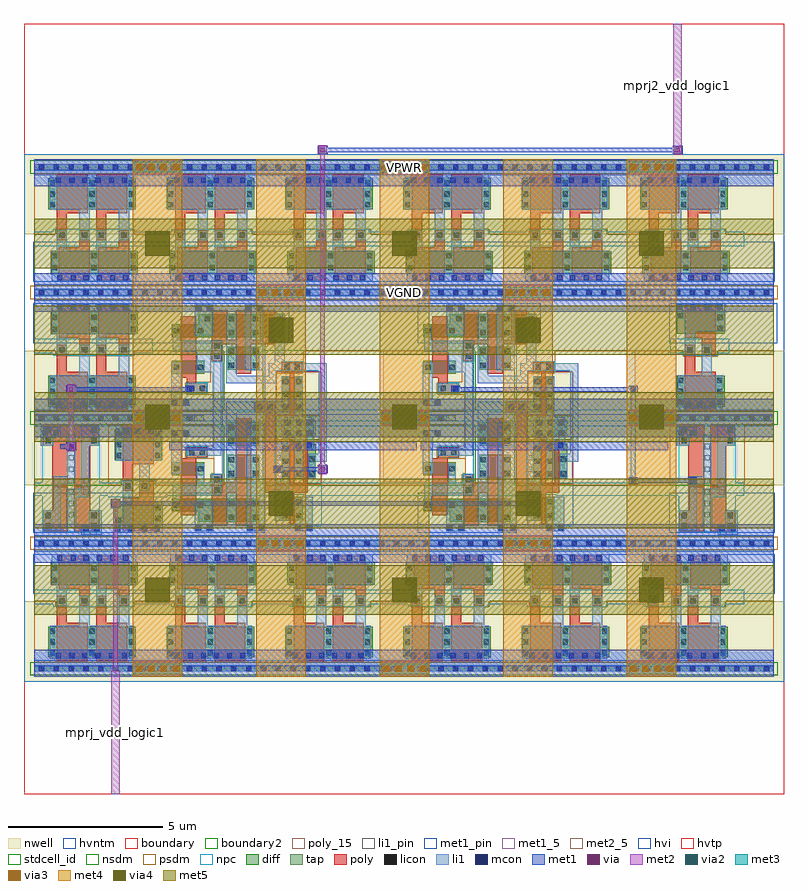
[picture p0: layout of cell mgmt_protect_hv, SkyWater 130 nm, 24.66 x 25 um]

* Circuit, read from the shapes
.subckt mgmt_protect_hv VGND VPWR mprj2_vdd_logic1 mprj_vdd_logic1
XM1 VGND VPWR VGND VGND sky130_fd_pr__nfet_g5v0d10v5 w=0.75 l=1 m=28
XM2 VGND n1 n2 VGND sky130_fd_pr__nfet_g5v0d10v5 w=0.42 l=0.5
XM3 VGND VPWR n1 VGND sky130_fd_pr__nfet_g5v0d10v5 w=0.42 l=0.5
XM4 n3 n2 VGND VGND sky130_fd_pr__nfet_g5v0d10v5 w=0.75 l=0.5 m=4
XM5 n4 n1 VGND VGND sky130_fd_pr__nfet_g5v0d10v5 w=0.75 l=0.5 m=4
XM6 VGND n3 mprj2_vdd_logic1 VGND sky130_fd_pr__nfet_01v8 w=0.74 l=0.15
XM7 VGND n5 n6 VGND sky130_fd_pr__nfet_g5v0d10v5 w=0.42 l=0.5
XM8 VGND VPWR n5 VGND sky130_fd_pr__nfet_g5v0d10v5 w=0.42 l=0.5
XM9 n7 n6 VGND VGND sky130_fd_pr__nfet_g5v0d10v5 w=0.75 l=0.5 m=4
XM10 n8 n5 VGND VGND sky130_fd_pr__nfet_g5v0d10v5 w=0.75 l=0.5 m=4
XM11 VGND n7 mprj_vdd_logic1 VGND sky130_fd_pr__nfet_01v8 w=0.74 l=0.15
XM12 VPWR VGND VPWR VPWR sky130_fd_pr__pfet_g5v0d10v5 w=1 l=1 m=28
XM13 n2 n1 VPWR VPWR sky130_fd_pr__pfet_g5v0d10v5 w=0.42 l=0.5
XM14 n1 VPWR VPWR VPWR sky130_fd_pr__pfet_g5v0d10v5 w=0.42 l=0.5
XM15 sky130_fd_sc_hvl__lsbufhv2lv_1_6/LVPWR n3 mprj2_vdd_logic1 sky130_fd_sc_hvl__lsbufhv2lv_1_6/LVPWR sky130_fd_pr__pfet_01v8_hvt w=1.12 l=0.15
XM16 sky130_fd_sc_hvl__lsbufhv2lv_1_6/LVPWR n4 n3 sky130_fd_sc_hvl__lsbufhv2lv_1_6/LVPWR sky130_fd_pr__pfet_01v8_hvt w=1.12 l=0.15
XM17 n4 n3 sky130_fd_sc_hvl__lsbufhv2lv_1_6/LVPWR sky130_fd_sc_hvl__lsbufhv2lv_1_6/LVPWR sky130_fd_pr__pfet_01v8_hvt w=1.12 l=0.15
XM18 n6 n5 VPWR VPWR sky130_fd_pr__pfet_g5v0d10v5 w=0.42 l=0.5
XM19 n5 VPWR VPWR VPWR sky130_fd_pr__pfet_g5v0d10v5 w=0.42 l=0.5
XM20 sky130_fd_sc_hvl__lsbufhv2lv_1_10/LVPWR n7 mprj_vdd_logic1 sky130_fd_sc_hvl__lsbufhv2lv_1_10/LVPWR sky130_fd_pr__pfet_01v8_hvt w=1.12 l=0.15
XM21 sky130_fd_sc_hvl__lsbufhv2lv_1_10/LVPWR n8 n7 sky130_fd_sc_hvl__lsbufhv2lv_1_10/LVPWR sky130_fd_pr__pfet_01v8_hvt w=1.12 l=0.15
XM22 n8 n7 sky130_fd_sc_hvl__lsbufhv2lv_1_10/LVPWR sky130_fd_sc_hvl__lsbufhv2lv_1_10/LVPWR sky130_fd_pr__pfet_01v8_hvt w=1.12 l=0.15
.ends

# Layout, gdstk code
import gdstk
lib = gdstk.Library(unit=1e-6, precision=1e-09)
def R(c, l, rs):  # rectangles x0, y0, x1, y1
    for r in rs: c.add(gdstk.rectangle(r[:2], r[2:], *l))
def A(c, l, x, y, w, h, nx, ny, dx, dy):  # array of equal rectangles
    R(c, l, [(x+i*dx, y+j*dy, x+i*dx+w, y+j*dy+h) for i in range(nx) for j in range(ny)])
def P(c, l, *ps):  # polygons
    for p in ps: c.add(gdstk.Polygon(p, *l))
nwell = (64, 20)
diff = (65, 20)
tap = (65, 44)
poly_15 = (66, 15)
poly = (66, 20)
licon = (66, 44)
li1_pin = (67, 16)
li1 = (67, 20)
mcon = (67, 44)
met1_5 = (68, 5)
met1_pin = (68, 16)
met1 = (68, 20)
via = (68, 44)
met2_5 = (69, 5)
met2 = (69, 20)
via2 = (69, 44)
met3 = (70, 20)
via3 = (70, 44)
met4 = (71, 20)
via4 = (71, 44)
met5 = (72, 20)
hvi = (75, 20)
hvtp = (78, 44)
stdcell_id = (81, 4)
nsdm = (93, 44)
psdm = (94, 20)
npc = (95, 20)
hvntm = (125, 20)
boundary = (235, 4)
boundary2 = (236, 0)

sky130_fd_sc_hvl__fill_1 = lib.new_cell('sky130_fd_sc_hvl__fill_1')
R(sky130_fd_sc_hvl__fill_1, nwell, [(-0.33,1.885,0.81,4.485)])
R(sky130_fd_sc_hvl__fill_1, tap, [(0,-0.085,0.48,0.085), (0,3.985,0.48,4.155)])
R(sky130_fd_sc_hvl__fill_1, licon, [(0.155,-0.085,0.325,0.085), (0.155,3.985,0.325,4.155)])
R(sky130_fd_sc_hvl__fill_1, li1, [(0,-0.085,0.48,0.085), (0,3.985,0.48,4.155)])
R(sky130_fd_sc_hvl__fill_1, mcon, [(0.155,-0.085,0.325,0.085), (0.155,-0.085,0.325,0.085), (0.155,3.985,0.325,4.155), (0.155,3.985,0.325,4.155)])
R(sky130_fd_sc_hvl__fill_1, met1_pin, [(0,0,0.48,0.115), (0,0,0.48,0.115), (0,0.255,0.48,0.625), (0,3.445,0.48,3.815), (0,3.955,0.48,4.07), (0,3.955,0.48,4.07)])
R(sky130_fd_sc_hvl__fill_1, met1, [(0,-0.115,0.48,0.115), (0,0.255,0.48,0.625), (0,3.445,0.48,3.815), (0,3.955,0.48,4.185)])
R(sky130_fd_sc_hvl__fill_1, hvi, [(-0.33,-0.265,0.81,4.485)])
R(sky130_fd_sc_hvl__fill_1, stdcell_id, [(0,0,0.48,4.07)])
R(sky130_fd_sc_hvl__fill_1, nsdm, [(0,0.215,0.48,1.885), (-0.13,3.855,0.61,4.285), (0,3.855,0.48,4.07)])
R(sky130_fd_sc_hvl__fill_1, psdm, [(-0.13,-0.215,0.61,0.215), (0,1.885,0.48,3.855)])
R(sky130_fd_sc_hvl__fill_1, hvntm, [(-0.11,0.35,0.59,1.64)])
R(sky130_fd_sc_hvl__fill_1, boundary2, [(0,0,0.48,4.07)])
sky130_fd_sc_hvl__fill_1.add(gdstk.Label('fill_1', (0,0), layer=83, texttype=44))
sky130_fd_sc_hvl__fill_1.add(gdstk.Label('VNB', (0.24,0.058), layer=68, texttype=5))
sky130_fd_sc_hvl__fill_1.add(gdstk.Label('VNB', (0.24,0.058), layer=68, texttype=5))
sky130_fd_sc_hvl__fill_1.add(gdstk.Label('VPWR', (0.24,3.63), layer=68, texttype=5))
sky130_fd_sc_hvl__fill_1.add(gdstk.Label('VPB', (0.24,4.013), layer=68, texttype=5))
sky130_fd_sc_hvl__fill_1.add(gdstk.Label('VPB', (0.24,4.013), layer=68, texttype=5))
sky130_fd_sc_hvl__fill_1.add(gdstk.Label('VGND', (0.24,0.44), layer=68, texttype=5))

sky130_fd_sc_hvl__decap_ = lib.new_cell('sky130_fd_sc_hvl__decap_8')
R(sky130_fd_sc_hvl__decap_, nwell, [(-0.33,1.885,4.17,4.485)])
R(sky130_fd_sc_hvl__decap_, diff, [(0.535,0.59,3.365,1.34), (0.46,2.7,3.3,3.7)])
R(sky130_fd_sc_hvl__decap_, tap, [(0,-0.085,3.84,0.085), (0,3.985,3.84,4.155)])
P(sky130_fd_sc_hvl__decap_, poly, [(3.08,2.025),(2.75,2.025),(2.75,1.47),(2.08,1.47),(2.08,0.4),(3.08,0.4)],
  [(3.015,3.83),(2.015,3.83),(2.015,1.695),(2.345,1.695),(2.345,2.57),(3.015,2.57)],
  [(1.735,3.83),(0.735,3.83),(0.735,1.695),(1.065,1.695),(1.065,2.57),(1.735,2.57)],
  [(1.8,2.025),(1.47,2.025),(1.47,1.47),(0.8,1.47),(0.8,0.4),(1.8,0.4)])
A(sky130_fd_sc_hvl__decap_, licon, 0.155, -0.085, 0.17, 0.17, 8, 2, 0.48, 4.07)
A(sky130_fd_sc_hvl__decap_, licon, 0.575, 0.72, 0.17, 0.17, 3, 2, 1.28, 0.39)
A(sky130_fd_sc_hvl__decap_, licon, 0.5, 2.76, 0.17, 0.17, 1, 3, 0, 0.355)
A(sky130_fd_sc_hvl__decap_, licon, 1.79, 2.76, 0.17, 0.17, 1, 3, 0, 0.355)
A(sky130_fd_sc_hvl__decap_, licon, 3.07, 2.76, 0.17, 0.17, 1, 3, 0, 0.355)
R(sky130_fd_sc_hvl__decap_, licon, [(0.815,1.775,0.985,1.945), (1.55,1.775,1.72,1.945), (2.095,1.775,2.265,1.945), (2.83,1.775,3,1.945)])
R(sky130_fd_sc_hvl__decap_, li1, [(0,-0.085,3.84,0.085), (0,3.985,3.84,4.155)])
P(sky130_fd_sc_hvl__decap_, li1, [(3.24,3.75),(0.5,3.75),(0.5,2.68),(1.47,2.68),(1.47,1.695),(1.8,1.695),(1.8,2.68),(2.75,2.68),(2.75,1.695),(3.08,1.695),(3.08,2.68),(3.24,2.68)],
  [(3.305,1.36),(2.345,1.36),(2.345,2.025),(2.015,2.025),(2.015,1.36),(1.065,1.36),(1.065,2.025),(0.735,2.025),(0.735,1.36),(0.575,1.36),(0.575,0.36),(3.305,0.36)])
A(sky130_fd_sc_hvl__decap_, mcon, 0.155, -0.085, 0.17, 0.17, 8, 2, 0.48, 4.07)
R(sky130_fd_sc_hvl__decap_, mcon, [(0.745,0.39,0.915,0.56), (1.185,0.39,1.355,0.56), (1.6,0.39,1.77,0.56), (2.025,0.39,2.195,0.56), (2.465,0.39,2.635,0.56), (2.88,0.39,3.05,0.56), (0.705,3.555,0.875,3.725), (1.145,3.555,1.315,3.725), (1.56,3.555,1.73,3.725), (1.985,3.555,2.155,3.725), (2.425,3.555,2.595,3.725), (2.84,3.555,3.01,3.725)])
R(sky130_fd_sc_hvl__decap_, met1_pin, [(0,0,3.84,0.115), (0,0,3.84,0.115), (0,0.255,3.84,0.625), (0,3.445,3.84,3.815), (0,3.955,3.84,4.07), (0,3.955,3.84,4.07)])
R(sky130_fd_sc_hvl__decap_, met1, [(0,-0.115,3.84,0.115), (0,0.255,3.84,0.625), (0,3.445,3.84,3.815), (0,3.955,3.84,4.185)])
R(sky130_fd_sc_hvl__decap_, hvi, [(-0.33,-0.265,4.17,4.485)])
R(sky130_fd_sc_hvl__decap_, stdcell_id, [(0,0,3.84,4.07)])
R(sky130_fd_sc_hvl__decap_, nsdm, [(-0.13,3.855,3.97,4.285)])
P(sky130_fd_sc_hvl__decap_, nsdm, [(3.84,1.885),(3.24,1.885),(3.24,2.055),(0.705,2.055),(0.705,1.885),(0,1.885),(0,0.215),(3.84,0.215)])
R(sky130_fd_sc_hvl__decap_, psdm, [(-0.13,-0.215,3.97,0.215)])
P(sky130_fd_sc_hvl__decap_, psdm, [(3.84,3.855),(0,3.855),(0,1.885),(0.705,1.885),(0.705,2.055),(3.24,2.055),(3.24,1.885),(3.84,1.885)])
P(sky130_fd_sc_hvl__decap_, npc, [(3.84,1.97),(3.2,1.97),(3.2,2.05),(0.615,2.05),(0.615,1.97),(0,1.97),(0,1.5),(3.84,1.5)])
R(sky130_fd_sc_hvl__decap_, hvntm, [(-0.035,0.35,3.875,1.64)])
R(sky130_fd_sc_hvl__decap_, boundary2, [(0,0,3.84,4.07)])
sky130_fd_sc_hvl__decap_.add(gdstk.Label('decap_8', (0,0), layer=83, texttype=44))
sky130_fd_sc_hvl__decap_.add(gdstk.Label('VNB', (1.92,0.058), layer=68, texttype=5))
sky130_fd_sc_hvl__decap_.add(gdstk.Label('VGND', (1.92,0.44), layer=68, texttype=5))
sky130_fd_sc_hvl__decap_.add(gdstk.Label('VNB', (1.92,0.058), layer=68, texttype=5))
sky130_fd_sc_hvl__decap_.add(gdstk.Label('VPWR', (1.92,3.63), layer=68, texttype=5))
sky130_fd_sc_hvl__decap_.add(gdstk.Label('VPB', (1.92,4.013), layer=68, texttype=5))
sky130_fd_sc_hvl__decap_.add(gdstk.Label('VPB', (1.92,4.013), layer=68, texttype=5))

c_sky130_fd_sc_hvl__decap_ = lib.new_cell('sky130_fd_sc_hvl__decap_4')
R(c_sky130_fd_sc_hvl__decap_, nwell, [(-0.33,1.885,2.25,4.485)])
R(c_sky130_fd_sc_hvl__decap_, diff, [(0.21,0.595,1.76,1.345), (0.21,2.705,1.76,3.705)])
R(c_sky130_fd_sc_hvl__decap_, tap, [(0,-0.085,1.92,0.085), (0,3.985,1.92,4.155)])
P(c_sky130_fd_sc_hvl__decap_, poly, [(1.475,3.835),(0.475,3.835),(0.475,1.7),(0.805,1.7),(0.805,2.575),(1.475,2.575)],
  [(1.475,2.03),(1.015,2.03),(1.015,1.475),(0.475,1.475),(0.475,0.405),(1.475,0.405)])
A(c_sky130_fd_sc_hvl__decap_, licon, 0.155, -0.085, 0.17, 0.17, 4, 2, 0.48, 4.07)
A(c_sky130_fd_sc_hvl__decap_, licon, 0.25, 2.765, 0.17, 0.17, 1, 3, 0, 0.355)
A(c_sky130_fd_sc_hvl__decap_, licon, 1.53, 2.765, 0.17, 0.17, 1, 3, 0, 0.355)
R(c_sky130_fd_sc_hvl__decap_, licon, [(0.25,0.675,0.42,0.845), (1.53,0.725,1.7,0.895), (1.53,1.08,1.7,1.25), (0.555,1.78,0.725,1.95), (1.095,1.78,1.265,1.95)])
R(c_sky130_fd_sc_hvl__decap_, li1, [(0,-0.085,1.92,0.085), (0,3.985,1.92,4.155)])
P(c_sky130_fd_sc_hvl__decap_, li1, [(1.7,3.755),(0.25,3.755),(0.25,2.685),(1.015,2.685),(1.015,1.7),(1.345,1.7),(1.345,2.685),(1.7,2.685)],
  [(1.78,1.25),(0.805,1.25),(0.805,2.03),(0.475,2.03),(0.475,0.845),(0.17,0.845),(0.17,0.365),(1.78,0.365)])
A(c_sky130_fd_sc_hvl__decap_, mcon, 0.155, -0.085, 0.17, 0.17, 4, 2, 0.48, 4.07)
A(c_sky130_fd_sc_hvl__decap_, mcon, 0.215, 0.395, 0.17, 0.17, 3, 1, 0.44, 0)
R(c_sky130_fd_sc_hvl__decap_, mcon, [(1.51,0.395,1.68,0.565), (0.495,3.56,0.665,3.73), (0.86,3.56,1.03,3.73), (1.3,3.56,1.47,3.73)])
R(c_sky130_fd_sc_hvl__decap_, met1_pin, [(0,0,1.92,0.115), (0,0,1.92,0.115), (0,0.255,1.92,0.625), (0,3.445,1.92,3.815), (0,3.955,1.92,4.07), (0,3.955,1.92,4.07)])
R(c_sky130_fd_sc_hvl__decap_, met1, [(0,-0.115,1.92,0.115), (0,0.255,1.92,0.625), (0,3.445,1.92,3.815), (0,3.955,1.92,4.185)])
R(c_sky130_fd_sc_hvl__decap_, hvi, [(-0.33,-0.265,2.25,4.485)])
R(c_sky130_fd_sc_hvl__decap_, stdcell_id, [(0,0,1.92,4.07)])
R(c_sky130_fd_sc_hvl__decap_, nsdm, [(-0.13,3.855,2.05,4.285)])
P(c_sky130_fd_sc_hvl__decap_, nsdm, [(1.92,1.885),(1.54,1.885),(1.54,2.07),(0.425,2.07),(0.425,1.885),(0,1.885),(0,0.215),(1.92,0.215)])
R(c_sky130_fd_sc_hvl__decap_, psdm, [(-0.13,-0.215,2.05,0.215)])
P(c_sky130_fd_sc_hvl__decap_, psdm, [(1.92,3.855),(0,3.855),(0,1.885),(0.425,1.885),(0.425,2.07),(1.54,2.07),(1.54,1.885),(1.92,1.885)])
P(c_sky130_fd_sc_hvl__decap_, npc, [(1.92,1.97),(1.54,1.97),(1.54,2.05),(0.425,2.05),(0.425,1.97),(0,1.97),(0,1.5),(1.92,1.5)])
R(c_sky130_fd_sc_hvl__decap_, hvntm, [(-0.035,0.35,1.955,1.64)])
R(c_sky130_fd_sc_hvl__decap_, boundary2, [(0,0,1.92,4.07)])
c_sky130_fd_sc_hvl__decap_.add(gdstk.Label('decap_4', (0,0), layer=83, texttype=44))
c_sky130_fd_sc_hvl__decap_.add(gdstk.Label('VNB', (0.96,0.058), layer=68, texttype=5))
c_sky130_fd_sc_hvl__decap_.add(gdstk.Label('VGND', (0.96,0.44), layer=68, texttype=5))
c_sky130_fd_sc_hvl__decap_.add(gdstk.Label('VNB', (0.96,0.058), layer=68, texttype=5))
c_sky130_fd_sc_hvl__decap_.add(gdstk.Label('VPWR', (0.96,3.63), layer=68, texttype=5))
c_sky130_fd_sc_hvl__decap_.add(gdstk.Label('VPB', (0.96,4.013), layer=68, texttype=5))
c_sky130_fd_sc_hvl__decap_.add(gdstk.Label('VPB', (0.96,4.013), layer=68, texttype=5))

sky130_fd_sc_hvl__lsbufh = lib.new_cell('sky130_fd_sc_hvl__lsbufhv2lv_1')
R(sky130_fd_sc_hvl__lsbufh, nwell, [(-0.33,1.885,1.53,6.255), (7,1.885,8.49,6.255), (3.53,1.925,5,5.575)])
R(sky130_fd_sc_hvl__lsbufh, diff, [(1.96,0.705,2.99,1.455), (3.71,0.755,4.39,1.495), (3.71,2.105,4.82,3.225), (1.96,2.125,2.99,2.875), (0.15,2.215,1.2,2.635), (1.96,3.175,2.99,3.925), (3.71,4.275,4.39,5.395), (0.15,5.505,1.2,5.925), (1.96,5.635,2.99,6.385), (1.96,6.685,2.99,7.435), (2.74,6.685,3.77,7.435)])
P(sky130_fd_sc_hvl__lsbufh, diff, [(2.04,6.685),(0.15,6.685),(0.15,7.105),(1.01,7.105),(1.01,7.435),(2.04,7.435)],
  [(2.04,1.455),(0.15,1.455),(0.15,1.035),(1.01,1.035),(1.01,0.705),(2.04,0.705)])
R(sky130_fd_sc_hvl__lsbufh, tap, [(0,-0.085,8.16,0.085), (3.71,3.495,4.82,4.005), (0,3.985,1.2,4.155), (7.33,3.985,8.16,4.155), (0,8.055,8.16,8.225)])
R(sky130_fd_sc_hvl__lsbufh, poly, [(3.975,0.625,4.125,3.355), (4.405,1.965,4.555,3.355), (0.63,2.795,1.3,3.125), (2.225,3.045,2.725,4.055), (3.975,4.145,4.125,5.555), (2.83,4.265,3.5,4.595), (0.63,4.87,1.3,5.2), (0.63,5.2,0.935,5.375), (0.435,5.375,0.935,6.085), (3.715,5.555,4.385,5.885), (0.435,5.97,0.935,7.37)])
P(sky130_fd_sc_hvl__lsbufh, poly, [(2.725,3.045),(2.225,3.045),(2.225,1.98),(1.775,1.98),(1.775,2.235),(1.445,2.235),(1.445,0.575),(1.945,0.575),(1.945,1.65),(2.225,1.65),(2.225,0.575),(2.725,0.575)],
  [(4.555,1.965),(3.5,1.965),(3.5,4.265),(3.17,4.265),(3.17,1.635),(4.555,1.635)],
  [(0.935,2.795),(0.63,2.795),(0.63,2.765),(0.435,2.765),(0.435,0.905),(0.935,0.905)],
  [(3.505,7.565),(3.005,7.565),(3.005,6.61),(2.725,6.61),(2.725,7.565),(2.225,7.565),(2.225,6.61),(1.945,6.61),(1.945,7.565),(1.445,7.565),(1.445,5.905),(1.775,5.905),(1.775,6.46),(2.225,6.46),(2.225,5.505),(2.725,5.505),(2.725,6.46),(3.505,6.46)])
A(sky130_fd_sc_hvl__lsbufh, licon, 0.155, -0.085, 0.17, 0.17, 17, 2, 0.48, 8.14)
A(sky130_fd_sc_hvl__lsbufh, licon, 1.22, 0.765, 0.17, 0.17, 3, 1, 0.78, 0)
A(sky130_fd_sc_hvl__lsbufh, licon, 3.75, 2.165, 0.17, 0.17, 3, 1, 0.43, 0)
A(sky130_fd_sc_hvl__lsbufh, licon, 3.83, 3.495, 0.17, 0.17, 3, 2, 0.35, 0.34)
A(sky130_fd_sc_hvl__lsbufh, licon, 3.75, 4.335, 0.17, 0.17, 1, 3, 0, 0.415)
A(sky130_fd_sc_hvl__lsbufh, licon, 4.18, 4.335, 0.17, 0.17, 1, 3, 0, 0.415)
A(sky130_fd_sc_hvl__lsbufh, licon, 2, 6.745, 0.17, 0.17, 3, 1, 0.78, 0)
A(sky130_fd_sc_hvl__lsbufh, licon, 1.22, 7.205, 0.17, 0.17, 4, 1, 0.78, 0)
R(sky130_fd_sc_hvl__lsbufh, licon, [(3.75,0.815,3.92,0.985), (4.18,0.815,4.35,0.985), (0.21,1.16,0.38,1.33), (0.99,1.16,1.16,1.33), (2,1.205,2.17,1.375), (2.78,1.205,2.95,1.375), (3.75,1.265,3.92,1.435), (4.18,1.265,4.35,1.435), (1.525,1.645,1.695,1.815), (1.525,1.985,1.695,2.155), (2,2.185,2.17,2.355), (2.78,2.185,2.95,2.355), (0.21,2.34,0.38,2.51), (0.99,2.34,1.16,2.51), (3.75,2.58,3.92,2.75), (4.18,2.58,4.35,2.75), (2,2.625,2.17,2.795), (2.78,2.625,2.95,2.795), (4.61,2.655,4.78,2.825), (0.71,2.875,0.88,3.045), (1.05,2.875,1.22,3.045), (3.75,2.995,3.92,3.165), (4.18,2.995,4.35,3.165), (2,3.235,2.17,3.405), (2.78,3.235,2.95,3.405), (2,3.675,2.17,3.845), (2.78,3.675,2.95,3.845), (0.155,3.985,0.325,4.155), (0.635,3.985,0.805,4.155), (7.45,3.985,7.62,4.155), (7.835,3.985,8.005,4.155), (2.91,4.345,3.08,4.515), (3.25,4.345,3.42,4.515), (0.71,4.95,0.88,5.12), (1.05,4.95,1.22,5.12), (0.21,5.63,0.38,5.8), (0.99,5.63,1.16,5.8), (3.795,5.635,3.965,5.805), (4.135,5.635,4.305,5.805), (2,5.695,2.17,5.865), (2.78,5.695,2.95,5.865), (1.525,5.985,1.695,6.155), (2,6.155,2.17,6.325), (2.78,6.155,2.95,6.325), (1.525,6.325,1.695,6.495), (0.21,6.81,0.38,6.98), (0.99,6.81,1.16,6.98)])
A(sky130_fd_sc_hvl__lsbufh, li1_pin, 3.515, 0.84, 0.17, 0.17, 1, 6, 0, 0.37)
R(sky130_fd_sc_hvl__lsbufh, li1_pin, [(0.635,4.91,0.805,5.08), (1.115,4.91,1.285,5.08)])
R(sky130_fd_sc_hvl__lsbufh, li1, [(0,-0.085,8.16,0.085), (0.895,0.395,1.485,1.395), (2.57,0.395,3.16,3.91), (4.13,0.395,4.72,1.515), (3.485,0.735,3.96,3.245), (0,3.985,0.885,4.155), (7.275,3.985,8.16,4.155), (4.13,4.015,4.4,5.415), (0.63,4.87,1.3,5.2), (2.53,5.615,3.12,7.745), (0.895,6.745,1.485,7.745), (0,8.055,8.16,8.225)])
P(sky130_fd_sc_hvl__lsbufh, li1, [(3.96,5.415),(3.71,5.415),(3.71,4.595),(1.92,4.595),(1.92,0.685),(2.25,0.685),(2.25,4.255),(3.96,4.255)],
  [(5.17,5.845),(3.81,5.845),(3.81,7.455),(3.48,7.455),(3.48,5.845),(3.29,5.845),(3.29,5.445),(2.25,5.445),(2.25,7.455),(1.92,7.455),(1.92,5.195),(3.54,5.195),(3.54,5.595),(4.92,5.595),(4.92,2.905),(4.57,2.905),(4.57,2.085),(4.82,2.085),(4.82,2.655),(5.17,2.655)],
  [(1.75,6.575),(0.42,6.575),(0.42,7.06),(0.17,7.06),(0.17,6.22),(0.95,6.22),(0.95,5.55),(1.47,5.55),(1.47,3.085),(0.63,3.085),(0.63,2.835),(1.75,2.835)],
  [(4.75,4.085),(3.78,4.085),(3.78,3.415),(4.13,3.415),(4.13,2.085),(4.4,2.085),(4.4,3.075),(4.75,3.075)],
  [(1.75,2.235),(1.445,2.235),(1.445,1.895),(1.2,1.895),(1.2,2.59),(0.95,2.59),(0.95,1.895),(0.17,1.895),(0.17,1.08),(0.42,1.08),(0.42,1.565),(1.75,1.565)],
  [(0.72,4.465),(0.13,4.465),(0.13,5.88),(0.46,5.88),(0.46,4.695),(0.72,4.695)],
  [(0.72,3.675),(0.13,3.675),(0.13,2.26),(0.46,2.26),(0.46,3.445),(0.72,3.445)])
A(sky130_fd_sc_hvl__lsbufh, mcon, 0.155, -0.085, 0.17, 0.17, 17, 2, 0.48, 8.14)
R(sky130_fd_sc_hvl__lsbufh, mcon, [(0.925,0.425,1.095,0.595), (1.285,0.425,1.455,0.595), (2.6,0.425,2.77,0.595), (2.96,0.425,3.13,0.595), (4.16,0.425,4.33,0.595), (4.52,0.425,4.69,0.595), (4.16,3.105,4.33,3.275), (4.52,3.105,4.69,3.275), (0.16,3.475,0.33,3.645), (0.52,3.475,0.69,3.645), (0.155,3.985,0.325,4.155), (0.635,3.985,0.805,4.155), (7.355,3.985,7.525,4.155), (7.835,3.985,8.005,4.155), (0.16,4.495,0.33,4.665), (0.52,4.495,0.69,4.665), (0.925,7.545,1.095,7.715), (1.285,7.545,1.455,7.715), (2.56,7.545,2.73,7.715), (2.92,7.545,3.09,7.715)])
R(sky130_fd_sc_hvl__lsbufh, met1_pin, [(0,0,8.16,0.115), (0,0.255,8.16,0.625), (0.07,3.02,8.09,3.305), (0,3.445,8.16,3.815), (0,3.955,8.16,4.185), (0,4.325,8.16,4.695), (0,7.515,8.16,7.885), (0,8.025,8.16,8.14)])
A(sky130_fd_sc_hvl__lsbufh, met1, 0, -0.115, 8.16, 0.23, 1, 3, 0, 4.07)
R(sky130_fd_sc_hvl__lsbufh, met1, [(0,0.255,8.16,0.625), (0.07,3.02,8.09,3.305), (0,3.445,8.16,3.815), (0,4.325,8.16,4.695), (0,7.515,8.16,7.885)])
P(sky130_fd_sc_hvl__lsbufh, hvi, [(8.49,8.405),(5,8.405),(5,0.575),(3.53,0.575),(3.53,5.575),(5,5.575),(5,8.405),(-0.33,8.405),(-0.33,-0.265),(8.49,-0.265)])
R(sky130_fd_sc_hvl__lsbufh, hvtp, [(3.53,1.925,5,5.575)])
R(sky130_fd_sc_hvl__lsbufh, stdcell_id, [(0,0,8.16,8.14)])
R(sky130_fd_sc_hvl__lsbufh, nsdm, [(3.53,3.365,5,4.135), (7,3.855,8.29,4.285)])
P(sky130_fd_sc_hvl__lsbufh, nsdm, [(8.16,1.885),(3.12,1.885),(3.12,6.255),(8.16,6.255),(8.16,7.925),(0,7.925),(0,6.255),(1.83,6.255),(1.83,4.285),(-0.13,4.285),(-0.13,3.855),(1.83,3.855),(1.83,1.885),(0,1.885),(0,0.215),(8.16,0.215)])
R(sky130_fd_sc_hvl__lsbufh, psdm, [(-0.13,-0.215,8.29,0.215), (-0.13,7.925,8.29,8.355)])
P(sky130_fd_sc_hvl__lsbufh, psdm, [(1.53,4.84),(0.6,4.84),(0.6,5.23),(1.415,5.23),(1.415,6.255),(0,6.255),(0,4.285),(1.53,4.285)],
  [(1.53,2.765),(0.6,2.765),(0.6,3.155),(1.53,3.155),(1.53,3.855),(0,3.855),(0,1.885),(1.415,1.885),(1.415,2.265),(1.53,2.265)],
  [(8.16,3.855),(7,3.855),(7,4.285),(8.16,4.285),(8.16,6.255),(4.415,6.255),(4.415,5.525),(3.53,5.525),(3.53,4.135),(5,4.135),(5,3.365),(3.53,3.365),(3.53,1.885),(8.16,1.885)])
R(sky130_fd_sc_hvl__lsbufh, npc, [(0.61,2.775,1.32,3.145), (2.81,4.245,3.52,4.615), (0.61,4.85,1.32,5.22), (3.695,5.535,4.405,5.905), (1.425,5.885,1.795,6.595)])
P(sky130_fd_sc_hvl__lsbufh, npc, [(8.16,1.97),(1.795,1.97),(1.795,2.255),(1.425,2.255),(1.425,1.97),(0,1.97),(0,1.545),(3.62,1.545),(3.62,1.585),(4.48,1.585),(4.48,1.545),(8.16,1.545)])
P(sky130_fd_sc_hvl__lsbufh, hvntm, [(3.955,7.79),(-0.035,7.79),(-0.035,6.5),(1.775,6.5),(1.775,1.64),(-0.035,1.64),(-0.035,0.35),(3.175,0.35),(3.175,6.5),(3.955,6.5)])
R(sky130_fd_sc_hvl__lsbufh, boundary2, [(0,0,8.16,8.14)])
sky130_fd_sc_hvl__lsbufh.add(gdstk.Label('X', (3.6,1.665), layer=67, texttype=5))
sky130_fd_sc_hvl__lsbufh.add(gdstk.Label('X', (3.6,0.925), layer=67, texttype=5))
sky130_fd_sc_hvl__lsbufh.add(gdstk.Label('X', (3.6,1.295), layer=67, texttype=5))
sky130_fd_sc_hvl__lsbufh.add(gdstk.Label('X', (3.6,2.775), layer=67, texttype=5))
sky130_fd_sc_hvl__lsbufh.add(gdstk.Label('X', (3.6,2.405), layer=67, texttype=5))
sky130_fd_sc_hvl__lsbufh.add(gdstk.Label('X', (3.6,2.035), layer=67, texttype=5))
sky130_fd_sc_hvl__lsbufh.add(gdstk.Label('A', (0.72,4.995), layer=67, texttype=5))
sky130_fd_sc_hvl__lsbufh.add(gdstk.Label('A', (1.2,4.995), layer=67, texttype=5))
sky130_fd_sc_hvl__lsbufh.add(gdstk.Label('lsbuflv2hv_1', (0,0), layer=83, texttype=44))
sky130_fd_sc_hvl__lsbufh.add(gdstk.Label('cross2', (3.18,2.35), layer=83, texttype=44))
sky130_fd_sc_hvl__lsbufh.add(gdstk.Label('VPWR', (4.32,3.63), layer=68, texttype=5))
sky130_fd_sc_hvl__lsbufh.add(gdstk.Label('VPWR', (4.32,4.51), layer=68, texttype=5))
sky130_fd_sc_hvl__lsbufh.add(gdstk.Label('VGND', (4.32,7.7), layer=68, texttype=5))
sky130_fd_sc_hvl__lsbufh.add(gdstk.Label('VGND', (4.32,0.44), layer=68, texttype=5))
sky130_fd_sc_hvl__lsbufh.add(gdstk.Label('VNB', (4.32,0.058), layer=68, texttype=5))
sky130_fd_sc_hvl__lsbufh.add(gdstk.Label('LVPWR', (4.32,3.165), layer=68, texttype=5))
sky130_fd_sc_hvl__lsbufh.add(gdstk.Label('VPB', (4.32,4.068), layer=68, texttype=5))
sky130_fd_sc_hvl__lsbufh.add(gdstk.Label('VNB', (4.32,8.082), layer=68, texttype=5))

sky130_fd_sc_hvl__conb_1 = lib.new_cell('sky130_fd_sc_hvl__conb_1')
R(sky130_fd_sc_hvl__conb_1, nwell, [(-0.33,1.885,2.73,4.485)])
R(sky130_fd_sc_hvl__conb_1, tap, [(0,-0.085,2.4,0.085), (0,3.985,2.4,4.155)])
R(sky130_fd_sc_hvl__conb_1, poly_15, [(0.585,1.82,1.095,1.865), (1.305,1.82,1.815,1.865)])
R(sky130_fd_sc_hvl__conb_1, poly, [(0.29,0.4,0.62,1.07), (0.585,0.4,1.095,3.845), (1.305,0.4,1.815,3.845), (1.78,0.4,2.11,1.07), (0.29,3.175,0.62,3.845), (1.78,3.175,2.11,3.845)])
A(sky130_fd_sc_hvl__conb_1, licon, 0.155, -0.085, 0.17, 0.17, 5, 2, 0.48, 4.07)
R(sky130_fd_sc_hvl__conb_1, licon, [(0.37,0.48,0.54,0.65), (1.86,0.48,2.03,0.65), (0.37,0.82,0.54,0.99), (1.86,0.82,2.03,0.99), (0.37,3.255,0.54,3.425), (1.86,3.255,2.03,3.425), (0.37,3.595,0.54,3.765), (1.86,3.595,2.03,3.765)])
A(sky130_fd_sc_hvl__conb_1, li1_pin, 1.115, 0.84, 0.17, 0.17, 1, 7, 0, 0.37)
R(sky130_fd_sc_hvl__conb_1, li1_pin, [(1.595,1.58,1.765,1.75), (1.595,1.95,1.765,2.12)])
R(sky130_fd_sc_hvl__conb_1, li1, [(0,-0.085,2.4,0.085), (0,3.985,2.4,4.155)])
P(sky130_fd_sc_hvl__conb_1, li1, [(2.185,1.07),(1.78,1.07),(1.78,0.625),(1.535,0.625),(1.535,0.285),(2.185,0.285)],
  [(1.325,3.53),(1.075,3.53),(1.075,2.185),(0.615,2.185),(0.615,1.07),(0.29,1.07),(0.29,0.43),(0.865,0.43),(0.865,1.935),(1.325,1.935)],
  [(2.11,3.815),(1.53,3.815),(1.53,1.765),(1.035,1.765),(1.035,0.5),(1.365,0.5),(1.365,1.5),(1.795,1.5),(1.795,3.175),(2.11,3.175)],
  [(0.215,3.175),(0.62,3.175),(0.62,3.445),(0.865,3.445),(0.865,3.785),(0.215,3.785)])
R(sky130_fd_sc_hvl__conb_1, mcon, [(0.155,-0.085,0.325,0.085), (0.155,-0.085,0.325,0.085), (0.635,-0.085,0.805,0.085), (0.635,-0.085,0.805,0.085), (1.115,-0.085,1.285,0.085), (1.115,-0.085,1.285,0.085), (1.595,-0.085,1.765,0.085), (1.595,-0.085,1.765,0.085), (2.075,-0.085,2.245,0.085), (2.075,-0.085,2.245,0.085), (1.595,0.395,1.765,0.565), (1.955,0.395,2.125,0.565), (0.275,3.505,0.445,3.675), (0.635,3.505,0.805,3.675), (0.155,3.985,0.325,4.155), (0.155,3.985,0.325,4.155), (0.635,3.985,0.805,4.155), (0.635,3.985,0.805,4.155), (1.115,3.985,1.285,4.155), (1.115,3.985,1.285,4.155), (1.595,3.985,1.765,4.155), (1.595,3.985,1.765,4.155), (2.075,3.985,2.245,4.155), (2.075,3.985,2.245,4.155)])
R(sky130_fd_sc_hvl__conb_1, met1_pin, [(0,0,2.4,0.115), (0,0.255,2.4,0.625), (0,3.445,2.4,3.815), (0,3.955,2.4,4.07)])
R(sky130_fd_sc_hvl__conb_1, met1, [(0,-0.115,2.4,0.115), (0,0.255,2.4,0.625), (0,3.445,2.4,3.815), (0,3.955,2.4,4.185)])
R(sky130_fd_sc_hvl__conb_1, hvi, [(-0.33,-0.265,2.73,4.485)])
R(sky130_fd_sc_hvl__conb_1, stdcell_id, [(0,0,2.4,4.07)])
R(sky130_fd_sc_hvl__conb_1, nsdm, [(0,0.215,2.4,1.885), (-0.13,3.855,2.53,4.285)])
R(sky130_fd_sc_hvl__conb_1, psdm, [(-0.13,-0.215,2.53,0.215)])
P(sky130_fd_sc_hvl__conb_1, npc, [(2.4,1.97),(2.13,1.97),(2.13,3.865),(0.27,3.865),(0.27,1.97),(0,1.97),(0,1.545),(0.27,1.545),(0.27,0.38),(2.13,0.38),(2.13,1.545),(2.4,1.545)])
R(sky130_fd_sc_hvl__conb_1, hvntm, [(-0.035,0.35,2.435,1.64)])
R(sky130_fd_sc_hvl__conb_1, boundary2, [(0,0,2.4,4.07)])
sky130_fd_sc_hvl__conb_1.add(gdstk.Label('conb_1', (0,0), layer=83, texttype=44))
sky130_fd_sc_hvl__conb_1.add(gdstk.Label('resistive_li1_ok', (0.695,1.355), layer=83, texttype=44))
sky130_fd_sc_hvl__conb_1.add(gdstk.Label('resistive_li1_ok', (1.69,2.73), layer=83, texttype=44))
sky130_fd_sc_hvl__conb_1.add(gdstk.Label('no_jumper_check', (1.56,1.9), layer=83, texttype=44))
sky130_fd_sc_hvl__conb_1.add(gdstk.Label('no_jumper_check', (0.84,1.9), layer=83, texttype=44))
sky130_fd_sc_hvl__conb_1.add(gdstk.Label('VGND', (1.2,0.44), layer=68, texttype=5))
sky130_fd_sc_hvl__conb_1.add(gdstk.Label('VNB', (1.2,0.058), layer=68, texttype=5))
sky130_fd_sc_hvl__conb_1.add(gdstk.Label('VPWR', (1.2,3.63), layer=68, texttype=5))
sky130_fd_sc_hvl__conb_1.add(gdstk.Label('VPB', (1.2,4.013), layer=68, texttype=5))
sky130_fd_sc_hvl__conb_1.add(gdstk.Label('LO', (1.68,1.665), layer=67, texttype=5))
sky130_fd_sc_hvl__conb_1.add(gdstk.Label('LO', (1.68,2.035), layer=67, texttype=5))
sky130_fd_sc_hvl__conb_1.add(gdstk.Label('HI', (1.2,2.035), layer=67, texttype=5))
sky130_fd_sc_hvl__conb_1.add(gdstk.Label('HI', (1.2,2.405), layer=67, texttype=5))
sky130_fd_sc_hvl__conb_1.add(gdstk.Label('LO', (1.2,1.295), layer=67, texttype=5))
sky130_fd_sc_hvl__conb_1.add(gdstk.Label('LO', (1.2,0.925), layer=67, texttype=5))
sky130_fd_sc_hvl__conb_1.add(gdstk.Label('HI', (1.2,2.775), layer=67, texttype=5))
sky130_fd_sc_hvl__conb_1.add(gdstk.Label('HI', (1.2,3.145), layer=67, texttype=5))
sky130_fd_sc_hvl__conb_1.add(gdstk.Label('LO', (1.2,1.665), layer=67, texttype=5))

sky130_fd_sc_hvl__fill_2 = lib.new_cell('sky130_fd_sc_hvl__fill_2')
R(sky130_fd_sc_hvl__fill_2, nwell, [(-0.33,1.885,1.29,4.485)])
R(sky130_fd_sc_hvl__fill_2, tap, [(0,-0.085,0.96,0.085), (0,3.985,0.96,4.155)])
R(sky130_fd_sc_hvl__fill_2, licon, [(0.155,-0.085,0.325,0.085), (0.635,-0.085,0.805,0.085), (0.155,3.985,0.325,4.155), (0.635,3.985,0.805,4.155)])
R(sky130_fd_sc_hvl__fill_2, li1, [(0,-0.085,0.96,0.085), (0,3.985,0.96,4.155)])
R(sky130_fd_sc_hvl__fill_2, mcon, [(0.155,-0.085,0.325,0.085), (0.155,-0.085,0.325,0.085), (0.635,-0.085,0.805,0.085), (0.635,-0.085,0.805,0.085), (0.155,3.985,0.325,4.155), (0.155,3.985,0.325,4.155), (0.635,3.985,0.805,4.155), (0.635,3.985,0.805,4.155)])
R(sky130_fd_sc_hvl__fill_2, met1_pin, [(0,0,0.96,0.115), (0,0,0.96,0.115), (0,0.255,0.96,0.625), (0,3.445,0.96,3.815), (0,3.955,0.96,4.07), (0,3.955,0.96,4.07)])
R(sky130_fd_sc_hvl__fill_2, met1, [(0,-0.115,0.96,0.115), (0,0.255,0.96,0.625), (0,3.445,0.96,3.815), (0,3.955,0.96,4.185)])
R(sky130_fd_sc_hvl__fill_2, hvi, [(-0.33,-0.265,1.29,4.485)])
R(sky130_fd_sc_hvl__fill_2, stdcell_id, [(0,0,0.96,4.07)])
R(sky130_fd_sc_hvl__fill_2, nsdm, [(0,0.215,0.96,1.885), (-0.13,3.855,1.09,4.285), (0,3.855,0.96,4.07)])
R(sky130_fd_sc_hvl__fill_2, psdm, [(-0.13,-0.215,1.09,0.215), (0,1.885,0.96,3.855)])
R(sky130_fd_sc_hvl__fill_2, hvntm, [(-0.035,0.35,0.995,1.64)])
R(sky130_fd_sc_hvl__fill_2, boundary2, [(0,0,0.96,4.07)])
sky130_fd_sc_hvl__fill_2.add(gdstk.Label('fill_2', (0,0), layer=83, texttype=44))
sky130_fd_sc_hvl__fill_2.add(gdstk.Label('VGND', (0.48,0.44), layer=68, texttype=5))
sky130_fd_sc_hvl__fill_2.add(gdstk.Label('VNB', (0.48,0.058), layer=68, texttype=5))
sky130_fd_sc_hvl__fill_2.add(gdstk.Label('VNB', (0.48,0.058), layer=68, texttype=5))
sky130_fd_sc_hvl__fill_2.add(gdstk.Label('VPWR', (0.48,3.63), layer=68, texttype=5))
sky130_fd_sc_hvl__fill_2.add(gdstk.Label('VPB', (0.48,4.013), layer=68, texttype=5))
sky130_fd_sc_hvl__fill_2.add(gdstk.Label('VPB', (0.48,4.013), layer=68, texttype=5))

mgmt_protect_hv = lib.new_cell('mgmt_protect_hv')
R(mgmt_protect_hv, li1, [(16.325,9.35,16.495,9.52), (19.685,10.09,19.855,13.22), (21.605,10.09,21.775,10.26), (8.165,10.46,8.335,10.63), (1.445,11.2,1.615,11.37), (5.285,13.05,5.455,13.22), (13.925,13.05,14.095,13.22)])
R(mgmt_protect_hv, mcon, [(16.325,9.35,16.495,9.52), (19.685,10.09,19.855,10.26), (21.605,10.09,21.775,10.26), (8.165,10.46,8.335,10.63), (1.445,11.2,1.615,11.37), (5.285,13.05,5.455,13.22), (13.925,13.05,14.095,13.22), (19.685,13.05,19.855,13.22)])
R(mgmt_protect_hv, met1_5, [(0.33,16.025,24.33,16.535), (0.33,20.095,24.33,20.605)])
A(mgmt_protect_hv, met1, 0.33, 3.815, 24, 0.51, 1, 5, 0, 4.07)
R(mgmt_protect_hv, met1, [(2.81,9.305,3.13,9.365), (16.265,9.32,16.555,9.365), (2.81,9.365,16.555,9.505), (2.81,9.505,3.13,9.565), (16.265,9.505,16.555,9.55), (19.625,10.06,19.915,10.105), (21.545,10.06,21.835,10.105), (19.625,10.105,21.835,10.245), (19.625,10.245,19.915,10.29), (21.545,10.245,21.835,10.29), (9.53,10.415,9.85,10.475), (8.105,10.43,8.395,10.475), (8.105,10.475,9.85,10.615), (8.105,10.615,8.395,10.66), (9.53,10.615,9.85,10.675), (1.37,11.155,1.69,11.215), (1.175,11.215,1.69,11.355), (1.37,11.355,1.69,11.415), (1.37,13.005,1.69,13.065), (5.225,13.02,5.515,13.065), (13.865,13.02,14.155,13.065), (19.625,13.02,19.915,13.065), (1.37,13.065,5.515,13.205), (13.865,13.065,19.915,13.205), (1.37,13.205,1.69,13.265), (5.225,13.205,5.515,13.25), (13.865,13.205,14.155,13.25), (19.625,13.205,19.915,13.25), (9.53,20.775,9.85,20.835), (21.05,20.775,21.37,20.835), (9.53,20.835,21.37,20.975), (9.53,20.975,9.85,21.035), (21.05,20.975,21.37,21.035)])
A(mgmt_protect_hv, via, 3.78, 3.995, 0.15, 0.15, 4, 3, 0.32, 8.14)
A(mgmt_protect_hv, via, 11.795, 3.995, 0.15, 0.15, 4, 3, 0.32, 8.14)
A(mgmt_protect_hv, via, 19.805, 3.995, 0.15, 0.15, 4, 3, 0.32, 8.14)
A(mgmt_protect_hv, via, 7.785, 8.065, 0.15, 0.15, 4, 2, 0.32, 8.14)
A(mgmt_protect_hv, via, 15.8, 8.065, 0.15, 0.15, 4, 2, 0.32, 8.14)
R(mgmt_protect_hv, via, [(2.895,9.36,3.045,9.51), (9.615,10.47,9.765,10.62), (1.455,11.21,1.605,11.36), (1.455,13.06,1.605,13.21), (9.615,20.83,9.765,20.98), (21.135,20.83,21.285,20.98)])
R(mgmt_protect_hv, met2_5, [(2.83,0,3.11,4), (21.07,21,21.35,25)])
A(mgmt_protect_hv, met2, 3.595, 3.815, 1.48, 0.51, 1, 3, 0, 8.14)
A(mgmt_protect_hv, met2, 11.61, 3.815, 1.48, 0.51, 1, 3, 0, 8.14)
A(mgmt_protect_hv, met2, 19.62, 3.815, 1.48, 0.51, 1, 3, 0, 8.14)
R(mgmt_protect_hv, met2, [(2.83,0,3.11,4), (2.9,4,3.04,9.275), (7.6,7.885,9.08,8.395), (15.615,7.885,17.095,8.395), (2.84,9.275,3.1,9.595), (9.56,10.385,9.82,10.705), (9.62,10.705,9.76,20.745), (1.4,11.125,1.66,11.445), (1.46,11.445,1.6,12.975), (1.4,12.975,1.66,13.295), (7.6,16.025,9.08,16.535), (15.615,16.025,17.095,16.535), (9.56,20.745,9.82,21.065), (21.08,20.745,21.34,21), (21.07,21,21.35,25)])
A(mgmt_protect_hv, via2, 3.635, 3.97, 0.2, 0.2, 4, 3, 0.4, 8.14)
A(mgmt_protect_hv, via2, 11.65, 3.97, 0.2, 0.2, 4, 3, 0.4, 8.14)
A(mgmt_protect_hv, via2, 19.66, 3.97, 0.2, 0.2, 4, 3, 0.4, 8.14)
A(mgmt_protect_hv, via2, 7.64, 8.04, 0.2, 0.2, 4, 2, 0.4, 8.14)
A(mgmt_protect_hv, via2, 15.655, 8.04, 0.2, 0.2, 4, 2, 0.4, 8.14)
A(mgmt_protect_hv, met3, 3.535, 3.905, 1.6, 0.33, 1, 3, 0, 8.14)
A(mgmt_protect_hv, met3, 11.55, 3.905, 1.6, 0.33, 1, 3, 0, 8.14)
A(mgmt_protect_hv, met3, 19.56, 3.905, 1.6, 0.33, 1, 3, 0, 8.14)
R(mgmt_protect_hv, met3, [(7.54,7.975,9.14,8.305), (15.555,7.975,17.155,8.305), (7.54,16.115,9.14,16.445), (15.555,16.115,17.155,16.445)])
A(mgmt_protect_hv, via3, 3.635, 3.97, 0.2, 0.2, 4, 3, 0.4, 8.14)
A(mgmt_protect_hv, via3, 11.65, 3.97, 0.2, 0.2, 4, 3, 0.4, 8.14)
A(mgmt_protect_hv, via3, 19.66, 3.97, 0.2, 0.2, 4, 3, 0.4, 8.14)
A(mgmt_protect_hv, via3, 7.64, 8.04, 0.2, 0.2, 4, 2, 0.4, 8.14)
A(mgmt_protect_hv, via3, 15.655, 8.04, 0.2, 0.2, 4, 2, 0.4, 8.14)
A(mgmt_protect_hv, met4, 11.55, 3.815, 1.6, 16.79, 3, 1, 4.005, 0)
R(mgmt_protect_hv, met4, [(3.535,3.815,5.135,20.605), (7.54,3.815,9.14,20.605)])
A(mgmt_protect_hv, via4, 3.935, 6.225, 0.8, 0.8, 1, 3, 0, 5.62)
A(mgmt_protect_hv, via4, 11.95, 6.225, 0.8, 0.8, 1, 3, 0, 5.62)
A(mgmt_protect_hv, via4, 19.96, 6.225, 0.8, 0.8, 1, 3, 0, 5.62)
R(mgmt_protect_hv, via4, [(7.94,9.035,8.74,9.835), (15.955,9.035,16.755,9.835), (7.94,14.655,8.74,15.455), (15.955,14.655,16.755,15.455)])
A(mgmt_protect_hv, met5, 0.33, 5.825, 24, 1.6, 1, 5, 0, 2.81)
R(mgmt_protect_hv, boundary, [(0,0,24.66,25)])
mgmt_protect_hv.add(gdstk.Reference(sky130_fd_sc_hvl__fill_1, (4.17,16.28), x_reflection=True))
mgmt_protect_hv.add(gdstk.Reference(sky130_fd_sc_hvl__decap_, (0.33,16.28), x_reflection=True))
mgmt_protect_hv.add(gdstk.Reference(c_sky130_fd_sc_hvl__decap_, (2.73,8.14)))
mgmt_protect_hv.add(gdstk.Reference(sky130_fd_sc_hvl__decap_, (8.01,8.14), x_reflection=True))
mgmt_protect_hv.add(gdstk.Reference(sky130_fd_sc_hvl__decap_, (4.17,8.14), x_reflection=True))
mgmt_protect_hv.add(gdstk.Reference(sky130_fd_sc_hvl__decap_, (0.33,8.14), x_reflection=True))
mgmt_protect_hv.add(gdstk.Reference(sky130_fd_sc_hvl__lsbufh, (4.65,8.14)))
mgmt_protect_hv.add(gdstk.Reference(sky130_fd_sc_hvl__conb_1, (0.33,8.14)))
mgmt_protect_hv.add(gdstk.Reference(sky130_fd_sc_hvl__decap_, (15.69,8.14), x_reflection=True))
mgmt_protect_hv.add(gdstk.Reference(sky130_fd_sc_hvl__decap_, (11.85,8.14), x_reflection=True))
mgmt_protect_hv.add(gdstk.Reference(sky130_fd_sc_hvl__lsbufh, (12.81,8.14)))
mgmt_protect_hv.add(gdstk.Reference(sky130_fd_sc_hvl__fill_1, (23.85,16.28), x_reflection=True))
mgmt_protect_hv.add(gdstk.Reference(sky130_fd_sc_hvl__fill_2, (22.89,16.28), x_reflection=True))
mgmt_protect_hv.add(gdstk.Reference(c_sky130_fd_sc_hvl__decap_, (20.97,16.28), x_reflection=True))
mgmt_protect_hv.add(gdstk.Reference(sky130_fd_sc_hvl__fill_2, (23.37,8.14)))
mgmt_protect_hv.add(gdstk.Reference(sky130_fd_sc_hvl__fill_2, (23.37,8.14), x_reflection=True))
mgmt_protect_hv.add(gdstk.Reference(sky130_fd_sc_hvl__decap_, (19.53,8.14), x_reflection=True))
mgmt_protect_hv.add(gdstk.Reference(sky130_fd_sc_hvl__conb_1, (20.97,8.14)))
mgmt_protect_hv.add(gdstk.Reference(sky130_fd_sc_hvl__decap_, (8.01,16.28)))
mgmt_protect_hv.add(gdstk.Reference(sky130_fd_sc_hvl__decap_, (4.17,16.28)))
mgmt_protect_hv.add(gdstk.Reference(sky130_fd_sc_hvl__decap_, (0.33,16.28)))
mgmt_protect_hv.add(gdstk.Reference(sky130_fd_sc_hvl__decap_, (15.69,16.28)))
mgmt_protect_hv.add(gdstk.Reference(sky130_fd_sc_hvl__decap_, (11.85,16.28)))
mgmt_protect_hv.add(gdstk.Reference(sky130_fd_sc_hvl__fill_2, (23.37,16.28)))
mgmt_protect_hv.add(gdstk.Reference(sky130_fd_sc_hvl__decap_, (19.53,16.28)))
mgmt_protect_hv.add(gdstk.Label('mprj2_vdd_logic1', (21.21,23), layer=69, texttype=5))
mgmt_protect_hv.add(gdstk.Label('mprj_vdd_logic1', (2.97,2), layer=69, texttype=5))
mgmt_protect_hv.add(gdstk.Label('VPWR', (12.33,20.35), layer=68, texttype=5))
mgmt_protect_hv.add(gdstk.Label('VGND', (12.33,16.28), layer=68, texttype=5))

lib.write_gds('mgmt_protect_hv.gds')
